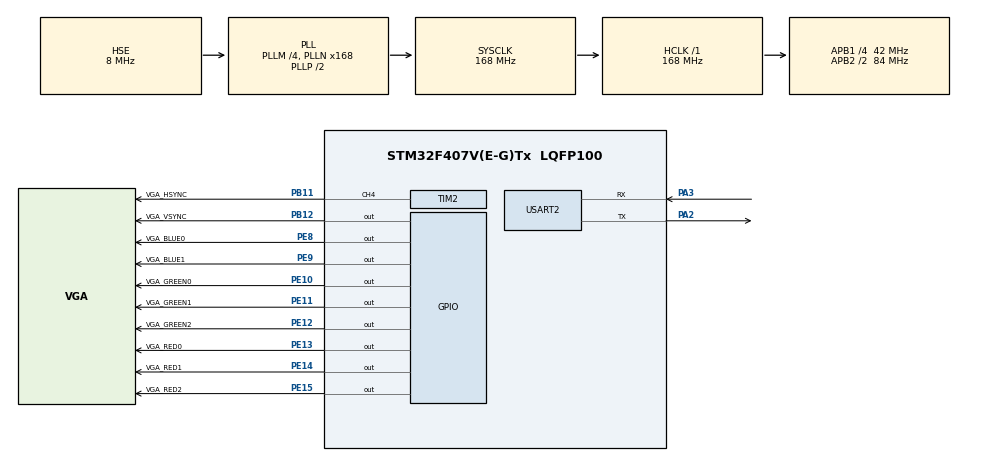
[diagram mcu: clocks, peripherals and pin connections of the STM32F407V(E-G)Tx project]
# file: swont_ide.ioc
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Dma.Request0=TIM1_UP
Dma.TIM1_UP.0.Direction=DMA_MEMORY_TO_PERIPH
Dma.TIM1_UP.0.FIFOMode=DMA_FIFOMODE_DISABLE
Dma.TIM1_UP.0.Instance=DMA2_Stream5
Dma.TIM1_UP.0.MemDataAlignment=DMA_MDATAALIGN_BYTE
Dma.TIM1_UP.0.MemInc=DMA_MINC_ENABLE
Dma.TIM1_UP.0.Mode=DMA_NORMAL
Dma.TIM1_UP.0.PeriphDataAlignment=DMA_PDATAALIGN_BYTE
Dma.TIM1_UP.0.PeriphInc=DMA_PINC_DISABLE
Dma.TIM1_UP.0.Priority=DMA_PRIORITY_VERY_HIGH
Mcu.Family=STM32F4
Mcu.Name=STM32F407V(E-G)Tx
Mcu.Package=LQFP100
NVIC.DMA2_Stream5_IRQn=true\:0\:0\:false\:false\:true\:false\:true\:true
NVIC.PriorityGroup=NVIC_PRIORITYGROUP_4
NVIC.TIM2_IRQn=true\:0\:0\:true\:false\:true\:true\:true\:true
NVIC.TIM5_IRQn=true\:1\:0\:true\:false\:true\:true\:true\:true
NVIC.USART2_IRQn=true\:0\:0\:false\:false\:true\:true\:true\:true
PA13.Mode=Serial_Wire
PA13.Signal=SYS_JTMS-SWDIO
PA14.Mode=Serial_Wire
PA14.Signal=SYS_JTCK-SWCLK
PA2.Mode=Asynchronous
PA2.Signal=USART2_TX
PA3.Mode=Asynchronous
PA3.Signal=USART2_RX
PB11.GPIO_Label=VGA_HSYNC
PB11.GPIO_Speed=GPIO_SPEED_FREQ_VERY_HIGH
PB11.Signal=S_TIM2_CH4
PB12.GPIO_Label=VGA_VSYNC
PB12.GPIO_PuPd=GPIO_NOPULL
PB12.GPIO_Speed=GPIO_SPEED_FREQ_VERY_HIGH
PB12.Signal=GPIO_Output
PE10.GPIO_Label=VGA_GREEN0
PE10.GPIO_PuPd=GPIO_NOPULL
PE10.GPIO_Speed=GPIO_SPEED_FREQ_VERY_HIGH
PE10.Signal=GPIO_Output
PE11.GPIO_Label=VGA_GREEN1
PE11.GPIO_PuPd=GPIO_NOPULL
PE11.GPIO_Speed=GPIO_SPEED_FREQ_VERY_HIGH
PE11.Signal=GPIO_Output
PE12.GPIO_Label=VGA_GREEN2
PE12.GPIO_PuPd=GPIO_NOPULL
PE12.GPIO_Speed=GPIO_SPEED_FREQ_VERY_HIGH
PE12.Signal=GPIO_Output
PE13.GPIO_Label=VGA_RED0
PE13.GPIO_PuPd=GPIO_NOPULL
PE13.GPIO_Speed=GPIO_SPEED_FREQ_VERY_HIGH
PE13.Signal=GPIO_Output
PE14.GPIO_Label=VGA_RED1
PE14.GPIO_PuPd=GPIO_NOPULL
PE14.GPIO_Speed=GPIO_SPEED_FREQ_VERY_HIGH
PE14.Signal=GPIO_Output
PE15.GPIO_Label=VGA_RED2
PE15.GPIO_PuPd=GPIO_NOPULL
PE15.GPIO_Speed=GPIO_SPEED_FREQ_VERY_HIGH
PE15.Signal=GPIO_Output
PE8.GPIO_Label=VGA_BLUE0
PE8.GPIO_PuPd=GPIO_NOPULL
PE8.GPIO_Speed=GPIO_SPEED_FREQ_VERY_HIGH
PE8.Signal=GPIO_Output
PE9.GPIO_Label=VGA_BLUE1
PE9.GPIO_PuPd=GPIO_NOPULL
PE9.GPIO_Speed=GPIO_SPEED_FREQ_VERY_HIGH
PE9.Signal=GPIO_Output
PH0-OSC_IN.Mode=HSE-External-Oscillator
PH0-OSC_IN.Signal=RCC_OSC_IN
PH1-OSC_OUT.Mode=HSE-External-Oscillator
PH1-OSC_OUT.Signal=RCC_OSC_OUT
ProjectManager.HeapSize=0x200
ProjectManager.StackSize=0x400
ProjectManager.TargetToolchain=STM32CubeIDE
RCC.48MHZClocksFreq_Value=84000000
RCC.AHBFreq_Value=168000000
RCC.APB1CLKDivider=RCC_HCLK_DIV4
RCC.APB1Freq_Value=42000000
RCC.APB1TimFreq_Value=84000000
RCC.APB2CLKDivider=RCC_HCLK_DIV2
RCC.APB2Freq_Value=84000000
RCC.APB2TimFreq_Value=168000000
RCC.CortexFreq_Value=168000000
RCC.HCLKFreq_Value=168000000
RCC.HSE_VALUE=8000000
RCC.HSI_VALUE=16000000
RCC.LSE_VALUE=32768
RCC.PLLM=4
RCC.PLLN=168
RCC.PLLSourceVirtual=RCC_PLLSOURCE_HSE
RCC.SYSCLKFreq_VALUE=168000000
RCC.SYSCLKSource=RCC_SYSCLKSOURCE_PLLCLK
RCC.VCOOutputFreq_Value=336000000
SH.S_TIM2_CH4.0=TIM2_CH4,PWM Generation4 CH4
TIM1.Period=VGA_TIM1_PERIODE
TIM1.Prescaler=VGA_TIM1_PRESCALE
TIM2.AutoReloadPreload=TIM_AUTORELOAD_PRELOAD_DISABLE
TIM2.Channel-PWM\ Generation3\ No\ Output=TIM_CHANNEL_3
TIM2.Channel-PWM\ Generation4\ CH4=TIM_CHANNEL_4
TIM2.OCPolarity_3=TIM_OCPOLARITY_LOW
TIM2.OCPolarity_4=TIM_OCPOLARITY_LOW
TIM2.Period=VGA_TIM2_HSYNC_PERIODE
TIM2.Prescaler=VGA_TIM2_HSYNC_PRESCALE
TIM2.Pulse-PWM\ Generation3\ No\ Output=VGA_TIM2_HTRIGGER_START - VGA_TIM2_DMA_DELAY
TIM2.Pulse-PWM\ Generation4\ CH4=VGA_TIM2_HSYNC_IMP
TIM5.AutoReloadPreload=TIM_AUTORELOAD_PRELOAD_DISABLE
TIM5.Period=2000
TIM5.Prescaler=42000
USART2.VirtualMode=VM_ASYNC
VP_TIM1_VS_ClockSourceINT.Mode=Internal
VP_TIM2_VS_no_output3.Mode=PWM Generation3 No Output
VP_TIM5_VS_ClockSourceINT.Mode=Internal
board=custom

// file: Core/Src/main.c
/* USER CODE BEGIN Header */
/**
  ******************************************************************************
  * @file           : main.c
  * @brief          : Main program body
  ******************************************************************************
  * @attention
  *
  * <h2><center>&copy; Copyright (c) 2020 STMicroelectronics.
  * All rights reserved.</center></h2>
  *
  * This software component is licensed by ST under BSD 3-Clause license,
  * the "License"; You may not use this file except in compliance with the
  * License. You may obtain a copy of the License at:
  *                        opensource.org/licenses/BSD-3-Clause
  *
  ******************************************************************************
  */
/* USER CODE END Header */
#include "main.h"
#include "dma.h"
#include "tim.h"
#include "usart.h"
#include "gpio.h"

/* USER CODE BEGIN Includes */
#include "logic_layer.h"
#include "front_layer.h"
/* USER CODE END Includes */

/* USER CODE BEGIN PV */

volatile char container[1024];
volatile int temp;
volatile int key;

/* USER CODE END PV */

void SystemClock_Config(void);

int main(void)
{

  /* MCU Configuration--------------------------------------------------------*/

  /* Reset of all peripherals, Initializes the Flash interface and the Systick. */
  HAL_Init();

  /* Configure the system clock */
  SystemClock_Config();

  /* Initialize all configured peripherals */
  MX_GPIO_Init();
  MX_DMA_Init();
  MX_TIM1_Init();
  MX_TIM2_Init();
  MX_USART2_UART_Init();
  MX_TIM5_Init();
  /* USER CODE BEGIN 2 */

  UB_VGA_Screen_Init(); // Init VGA-Screen

  FL_UART_Init();
  HAL_TIM_Base_Start_IT(&htim5);
  buffer_init();

  UB_VGA_FillScreen(VGA_COL_WHITE);
  puts("UART_STARTED: \n");
  /* USER CODE END 2 */

  /* Infinite loop */
  /* USER CODE BEGIN WHILE */
  while (1)
  {
	  if(wait.head != wait.executed && !wait.waitFlag)
	  {
		  wait.executed++;
		  wait.executed = indexBuffer(wait.executed);
		  logic_layer(wait.buffer[wait.executed]);
	  }

    /* USER CODE END WHILE */

  }
}

void SystemClock_Config(void)
{
  RCC_OscInitTypeDef RCC_OscInitStruct = {0};
  RCC_ClkInitTypeDef RCC_ClkInitStruct = {0};

  /** Configure the main internal regulator output voltage
  */
  __HAL_RCC_PWR_CLK_ENABLE();
  __HAL_PWR_VOLTAGESCALING_CONFIG(PWR_REGULATOR_VOLTAGE_SCALE1);
  /** Initializes the RCC Oscillators according to the specified parameters
  * in the RCC_OscInitTypeDef structure.
  */
  RCC_OscInitStruct.OscillatorType = RCC_OSCILLATORTYPE_HSE;
  RCC_OscInitStruct.HSEState = RCC_HSE_ON;
  RCC_OscInitStruct.PLL.PLLState = RCC_PLL_ON;
  RCC_OscInitStruct.PLL.PLLSource = RCC_PLLSOURCE_HSE;
  RCC_OscInitStruct.PLL.PLLM = 4;
  RCC_OscInitStruct.PLL.PLLN = 168;
  RCC_OscInitStruct.PLL.PLLP = RCC_PLLP_DIV2;
  RCC_OscInitStruct.PLL.PLLQ = 4;
  if (HAL_RCC_OscConfig(&RCC_OscInitStruct) != HAL_OK)
  {
    Error_Handler();
  }
  /** Initializes the CPU, AHB and APB buses clocks
  */
  RCC_ClkInitStruct.ClockType = RCC_CLOCKTYPE_HCLK|RCC_CLOCKTYPE_SYSCLK
                              |RCC_CLOCKTYPE_PCLK1|RCC_CLOCKTYPE_PCLK2;
  RCC_ClkInitStruct.SYSCLKSource = RCC_SYSCLKSOURCE_PLLCLK;
  RCC_ClkInitStruct.AHBCLKDivider = RCC_SYSCLK_DIV1;
  RCC_ClkInitStruct.APB1CLKDivider = RCC_HCLK_DIV4;
  RCC_ClkInitStruct.APB2CLKDivider = RCC_HCLK_DIV2;

  if (HAL_RCC_ClockConfig(&RCC_ClkInitStruct, FLASH_LATENCY_5) != HAL_OK)
  {
    Error_Handler();
  }
}

/* USER CODE BEGIN 4 */

#ifdef __GNUC__
	#define USART_PRINTF int __io_putchar(int ch)		//With GCC/RAISONANCE printf calls __io_putchar()
#else
	#define USART_PRINTF int fputc(int ch, FILE *f)		//With other compiler printf calls fputc()
#endif /* __GNUC__ */

//Retargets the C library printf function to the USART
USART_PRINTF
{
	HAL_UART_Transmit(&huart2, (uint8_t *)&ch, 1, 0xFFFF);	//Write character to UART2
	return ch;												//Return the character
}

/* USER CODE END 4 */

void Error_Handler(void)
{
}

/************************ (C) COPYRIGHT STMicroelectronics *****END OF FILE****/
